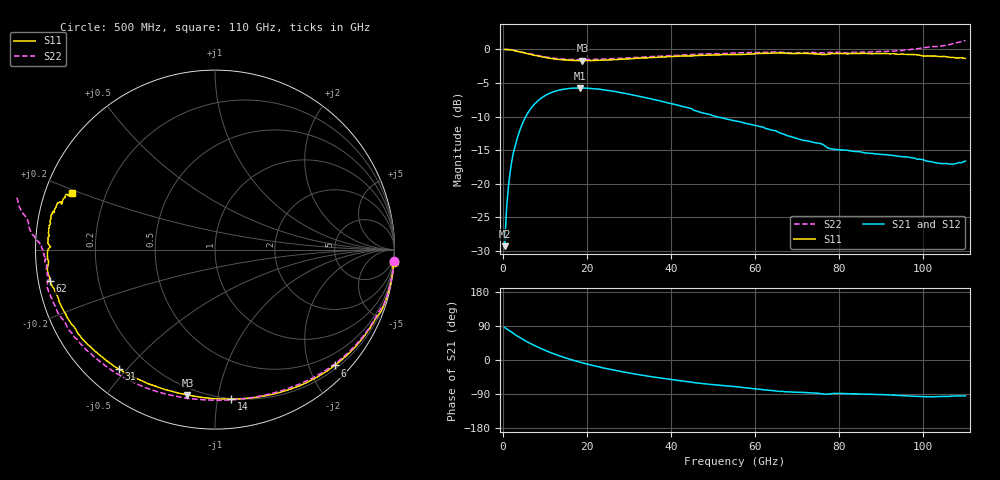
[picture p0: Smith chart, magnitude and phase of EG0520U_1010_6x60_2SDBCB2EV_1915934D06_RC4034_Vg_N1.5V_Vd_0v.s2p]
!File name = EG0520U_1010_6x60_2SDBCB2EV_1915934D06_RC4034_Vg_N1.5V_Vd_0v.s2p
!Base file name = EG0520U_1010_6x60_2SDBCB2EV_1915934D06_RC4034
!Date = 8/23/2019
!Time = 12:55 PM
!Test duration(min) = 0.15
!Test = S-Parameters
!MPTS version = 8.91.5
!State File = C:\Data\PNA\20190821205423\S-Parameters_2019-08-23.sta
!Cal File =
!ComputerName = CMPE-LAB-6
!Comments =
!Attenuation = 0
!Z0 = 50
!Input Power(dBm) = -13.00
!Device ID = EG0520U_1010_6x60_2SDBCB2EV
!Row = 40
!Column = 34
!Technology = QPHT09
!Lot/Wafer = 1915934D06
!Gate Size = 360
!Mask = EG0520
!Cal Standards = GaAs BCB
!Cal Kit = EG2306
!Job Number = 20190821205423
!Device Type = FET
!set_Vg(v) = -1.500
!set_Vd(v) = 0.000
!file_name = EG0520U_1010_6x60_2SDBCB2EV_1915934D06_RC4034_Vg_N1.5V_Vd_0v.s2p
!Vd(V) = 0.000
!Vd(mA) = 0.002
!Vg(V) = -1.500
!Vg(mA) = -0.001
# GHz  S  DB  R  50
!%	Freq(GHz)  s11(dB)  s11(deg)  s21(dB)  s21(deg)  s12(dB)  s12(deg)  s22(dB)  s22(deg)
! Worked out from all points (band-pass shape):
!   220 points, 500 MHz to 110 GHz, reference 50 ohm
!   highest |S21| = -5.75 dB at 18.5 GHz (marker M1); lowest = -29.3 dB at 500 MHz (marker M2)
!   |S21| within 3 dB of the highest: 6.803 GHz to 44.4 GHz (37.6 GHz wide, 147 % of centre)
!   lowest |S11| = -1.7 dB at 19 GHz (marker M3), VSWR 10.37, Z = 8.08 - j40.7 ohm
!   |S11| at or under -10 dB: nowhere
!   |S22| runs from -1.5 to 1.3 dB; largest |S21 - S12| = 0.0028
!   S11 on the Smith chart (normalised r, x): 500 MHz: 0, -28; 6 GHz: 0.26, -2.45; 14 GHz: 0.20, -1.09; 31 GHz: 0.10, -0.47; 62 GHz: 0.03, -0.09; 110 GHz: 0.08, +0.19
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0.5  -0.00 -4.1  -29.31 85.8  -29.31 85.9  -0.00 -3.7
1  -0.02 -8.2  -23.33 82.2  -23.33 82.2  -0.02 -7.3
1.5  -0.04 -12.2  -19.86 78.5  -19.87 78.5  -0.04 -10.9
2.5  -0.10 -20.2  -15.60 71.2  -15.60 71.2  -0.10 -18.1
4  -0.35 -30.6  -12.27 60.0  -12.28 60.0  -0.33 -27.3
6  -0.64 -44.0  -9.49 47.3  -9.50 47.3  -0.60 -39.4
9.5  -1.13 -63.8  -7.13 28.5  -7.14 28.4  -1.05 -57.4
14  -1.54 -83.8  -5.99 9.2  -6.00 9.1  -1.42 -76.0
18.5  -1.68 -99.3  -5.75 -6.0  -5.77 -6.1  -1.52 -91.0
19  -1.68 -100.8  -5.75 -7.5  -5.77 -7.6  -1.52 -92.5
24  -1.61 -114.1  -6.02 -21.1  -6.04 -21.1  -1.45 -106.1
31  -1.37 -128.9  -6.78 -36.1  -6.80 -36.2  -1.23 -121.7
37  -1.17 -139.1  -7.61 -46.6  -7.62 -46.8  -1.02 -132.8
46.5  -0.90 -153.1  -9.26 -61.0  -9.28 -61.1  -0.71 -147.6
55.5  -0.78 -163.1  -10.67 -70.7  -10.69 -70.8  -0.51 -158.0
62  -0.58 -169.3  -11.59 -78.5  -11.64 -78.5  -0.42 -164.3
73.5  -0.62 -179.6  -13.79 -86.9  -13.81 -87.0  -0.46 -172.9
78  -0.64 178.1  -14.81 -88.9  -14.84 -88.8  -0.45 -175.2
92  -0.67 167.5  -15.76 -92.3  -15.76 -92.4  -0.26 178.4
100  -0.99 162.9  -16.44 -96.8  -16.46 -96.8  0.26 174.8
106.5  -1.20 159.5  -17.08 -95.7  -17.10 -96.0  0.76 169.2
110  -1.35 158.6  -16.63 -94.8  -16.68 -95.1  1.33 163.6
